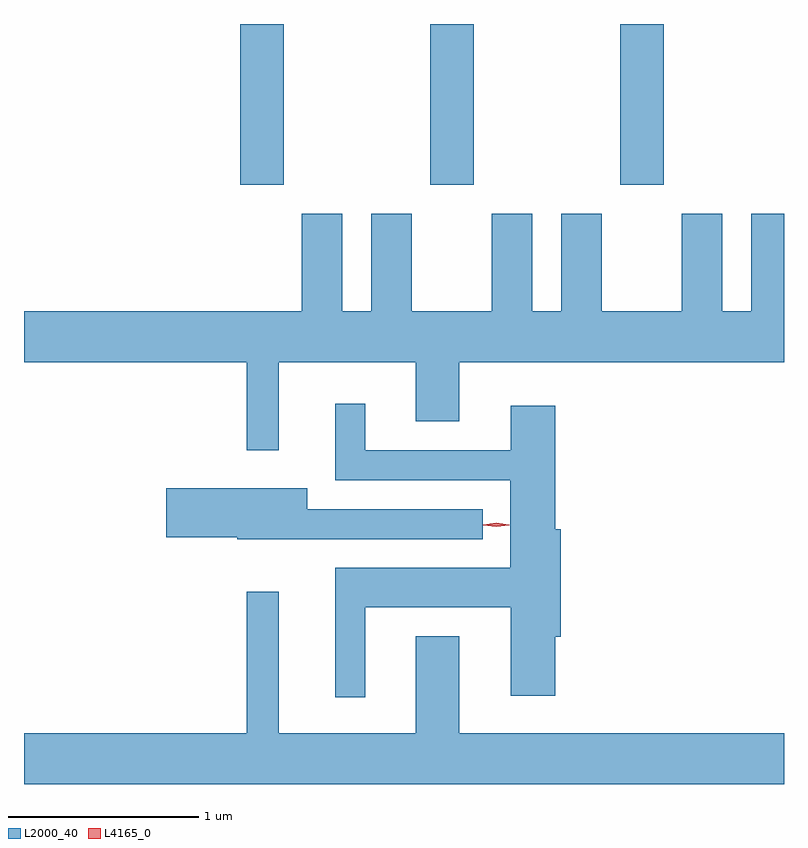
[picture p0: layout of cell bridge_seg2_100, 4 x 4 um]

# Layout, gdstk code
import gdstk
lib = gdstk.Library(unit=1e-6, precision=1e-09)
def R(c, l, rs):  # rectangles x0, y0, x1, y1
    for r in rs: c.add(gdstk.rectangle(r[:2], r[2:], *l))
def A(c, l, x, y, w, h, nx, ny, dx, dy):  # array of equal rectangles
    R(c, l, [(x+i*dx, y+j*dy, x+i*dx+w, y+j*dy+h) for i in range(nx) for j in range(ny)])
def P(c, l, *ps):  # polygons
    for p in ps: c.add(gdstk.Polygon(p, *l))
L2000_40 = (2000, 40)
L4165_0 = (4165, 0)

bridge_seg2_100 = lib.new_cell('bridge_seg2_100')
A(bridge_seg2_100, L2000_40, 1276.846, 1002.631, 0.228, 0.846, 3, 1, 1, 0)
P(bridge_seg2_100, L2000_40, [(1277.049,1001.696),(1277.771,1001.696),(1277.771,1001.386),(1277.999,1001.386),(1277.999,1001.696),(1279.708,1001.696),(1279.708,1002.479),(1279.536,1002.479),(1279.536,1001.964),(1279.384,1001.964),(1279.384,1002.479),(1279.171,1002.479),(1279.171,1001.964),(1278.749,1001.964),(1278.749,1002.479),(1278.536,1002.479),(1278.536,1001.964),(1278.384,1001.964),(1278.384,1002.479),(1278.171,1002.479),(1278.171,1001.964),(1277.749,1001.964),(1277.749,1002.479),(1277.536,1002.479),(1277.536,1001.964),(1277.384,1001.964),(1277.384,1002.479),(1277.171,1002.479),(1277.171,1001.964),(1275.708,1001.964),(1275.708,1001.696),(1276.881,1001.696),(1276.881,1001.233),(1277.049,1001.233)],
  [(1277.504,1000.406),(1278.271,1000.406),(1278.271,999.941),(1278.504,999.941),(1278.504,1000.251),(1278.534,1000.251),(1278.534,1000.819),(1278.504,1000.819),(1278.504,1001.469),(1278.271,1001.469),(1278.271,1001.234),(1277.504,1001.234),(1277.504,1001.478),(1277.346,1001.478),(1277.346,1001.076),(1278.266,1001.076),(1278.266,1000.614),(1277.346,1000.614),(1277.346,999.933),(1277.504,999.933)],
  [(1278.123,1000.924),(1277.199,1000.924),(1277.199,1001.034),(1276.456,1001.034),(1276.456,1000.776),(1276.83,1000.776),(1276.83,1000.766),(1278.123,1000.766)],
  [(1276.881,999.744),(1275.708,999.744),(1275.708,999.477),(1279.708,999.477),(1279.708,999.744),(1277.999,999.744),(1277.999,1000.254),(1277.771,1000.254),(1277.771,999.744),(1277.049,999.744),(1277.049,1000.488),(1276.881,1000.488)])
P(bridge_seg2_100, L4165_0, [(1278.193,1000.831),(1278.124,1000.84),(1278.123,1000.841),(1278.124,1000.841),(1278.193,1000.851),(1278.262,1000.841),(1278.262,1000.841),(1278.262,1000.84)],
  [(1278.193,1000.831),(1278.128,1000.84),(1278.127,1000.841),(1278.128,1000.841),(1278.193,1000.851),(1278.258,1000.841),(1278.259,1000.841),(1278.258,1000.84)])

lib.write_gds('bridge_seg2_100.gds')
